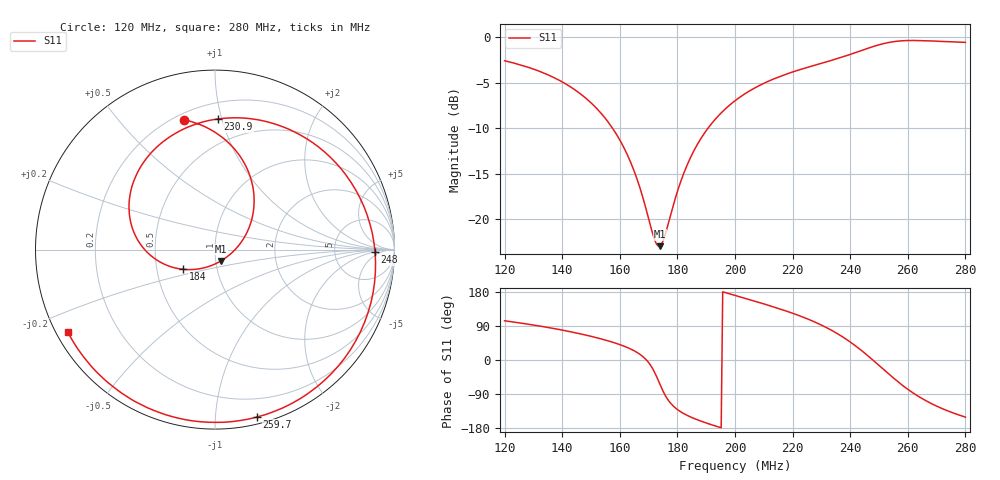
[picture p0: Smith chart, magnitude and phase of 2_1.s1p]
! COPPER MOUNTAIN TECHNOLOGIES, TR5048, 14027131, 0.7.17/2.0
! Date: 8.11.2025 10:18:02
! Data: Format [Calibration Info]
! Freq  S11: Re/Im F1
# HZ S RI R 50
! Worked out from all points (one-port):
!   301 points, 120 MHz to 280 MHz, reference 50 ohm
!   lowest |S11| = -23.0 dB at 173.9 MHz (marker M1), VSWR 1.15, Z = 52.9 - j6.73 ohm
!   |S11| at or under -10 dB: 157.5 MHz to 190.6 MHz (33.07 MHz wide, 19 % of centre)
!   S11 on the Smith chart (normalised r, x): 120 MHz: 0.23, +0.76; 184 MHz: 0.68, -0.16; 230.9 MHz: 0.31, +0.97; 248 MHz: 17, -3; 259.7 MHz: 0.05, -1.28; 280 MHz: 0.03, -0.26
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1.2e8  -0.1744 0.724
1.402667e8  0.1126 0.5554
1.514667e8  0.2091 0.3584
1.6e8  0.2072 0.1777
1.658667e8  0.1577 0.0591
1.722667e8  0.0618 -0.044
1.738667e8  0.0325 -0.0633
1.802667e8  -0.0986 -0.1086
1.84e8  -0.1782 -0.1097
1.909333e8  -0.3153 -0.0638
2e8  -0.4423 0.0753
2.106667e8  -0.4721 0.312
2.202667e8  -0.3502 0.5456
2.256e8  -0.2025 0.6578
2.309333e8  0.0165 0.7279
2.357333e8  0.2783 0.7151
2.4e8  0.5445 0.5957
2.437333e8  0.7589 0.3731
2.48e8  0.8918 -0.0149
2.506667e8  0.8689 -0.2953
2.533333e8  0.7543 -0.5583
2.565333e8  0.5169 -0.8028
2.597333e8  0.2349 -0.9327
2.602667e8  0.1877 -0.9441
2.64e8  -0.1239 -0.9545
2.693333e8  -0.4677 -0.8335
2.741333e8  -0.6711 -0.6698
2.8e8  -0.8198 -0.4604
